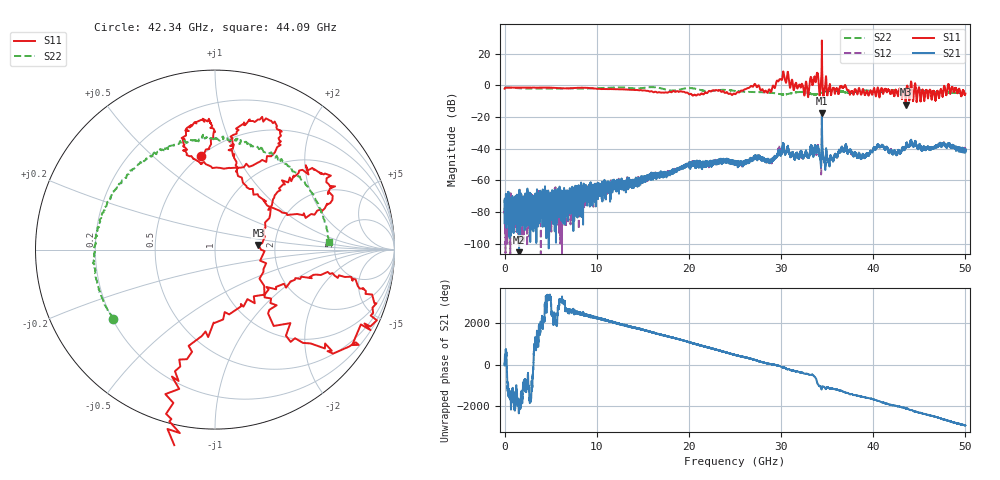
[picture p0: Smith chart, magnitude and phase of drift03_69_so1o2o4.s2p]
!Created with skrf (http://scikit-rf.org).
# Hz S RI R 50.0
!freq ReS11 ImS11 ReS21 ImS21 ReS12 ImS12 ReS22 ImS22
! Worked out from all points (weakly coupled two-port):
!   10000 points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, 5.3 MHz to 50 GHz, reference 50 ohm
!   highest |S21| = -17.45 dB at 34.43 GHz (marker M1); lowest = -105.5 dB at 1.575 GHz (marker M2)
!   lowest |S11| = -12.3 dB at 43.52 GHz (marker M3), VSWR 1.64, Z = 81.7 + j4.44 ohm
!   |S11| at or under -10 dB: 43.48554 GHz to 43.55246 GHz (66.91 MHz wide, 0.154 % of centre); 44.7067 GHz to 44.71322 GHz (6.522 MHz wide, 0.0146 % of centre); 45.13298 GHz to 45.14182 GHz (8.842 MHz wide, 0.0196 % of centre)
!   |S22| runs from -5.8 to -1.1 dB; largest |S21 - S12| = 0.038
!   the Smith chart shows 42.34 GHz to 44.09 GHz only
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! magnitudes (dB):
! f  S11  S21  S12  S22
! 5.3 MHz  -2.1  -87.1  -77.7  -1.3
! 1.575 GHz  -1.3  -105.5  -74.6  -1.8
! 5.855 GHz  -1.7  -72.8  -69.4  -2.0
! 8.34 GHz  -1.5  -74.8  -69.8  -2.1
! 16.67 GHz  -4.4  -56.2  -56.2  -1.5
! 20.41 GHz  -6.4  -50.2  -49.5  -1.8
! 25.01 GHz  -5.5  -47.6  -48.4  -3.5
! 27.02 GHz  -0.3  -45.0  -45.8  -4.3
! 28.72 GHz  -2.5  -47.9  -48.0  -4.5
! 30.14 GHz  4.4  -40.8  -41.3  -5.7
! 32.74 GHz  2.0  -42.4  -42.3  -4.6
! 33.34 GHz  2.6  -39.9  -40.0  -5.5
! 33.82 GHz  4.0  -41.8  -42.1  -5.6
! 34.43 GHz  28.4  -17.5  -18.6  -4.6
! 35.28 GHz  0.1  -49.7  -47.9  -3.3
! 36.86 GHz  -0.6  -41.7  -41.2  -4.2
! 38.86 GHz  -2.4  -43.7  -44.0  -3.2
! 40.61 GHz  -4.9  -38.0  -38.3  -4.0
! 41.67 GHz  -2.9  -41.9  -41.9  -3.3
! 43.52 GHz  -12.3  -38.8  -38.7  -4.0
! 47.59 GHz  -4.7  -36.7  -37.1  -4.6
! 50 GHz  -5.2  -42.2  -41.4  -4.5
